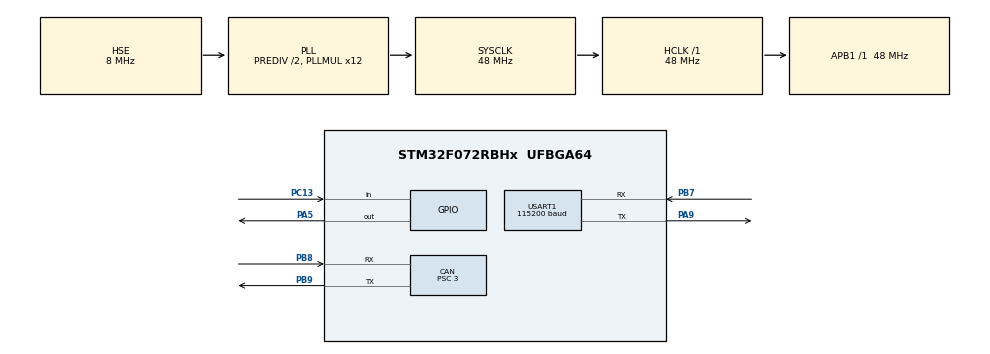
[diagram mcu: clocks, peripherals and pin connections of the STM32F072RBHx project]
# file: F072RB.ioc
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CAN.BS1=CAN_BS1_13TQ
CAN.BS2=CAN_BS2_2TQ
CAN.CalculateBaudRate=1000000
CAN.CalculateTimeBit=1000
CAN.CalculateTimeQuantum=62.5
CAN.Prescaler=3
Mcu.Family=STM32F0
Mcu.Name=STM32F072RBHx
Mcu.Package=UFBGA64
NVIC.CEC_CAN_IRQn=true\:0\:0\:false\:false\:true\:true\:true\:true
NVIC.TIM17_IRQn=true\:0\:0\:false\:false\:true\:true\:true\:true
PA5.Signal=GPIO_Output
PA9.Mode=Asynchronous
PA9.Signal=USART1_TX
PB7.Mode=Asynchronous
PB7.Signal=USART1_RX
PB8.Mode=CAN_Activate
PB8.Signal=CAN_RX
PB9.Mode=CAN_Activate
PB9.Signal=CAN_TX
PC13.GPIO_PuPd=GPIO_PULLDOWN
PC13.Signal=GPIO_Input
PF0-OSC_IN.Mode=HSE-External-Oscillator
PF0-OSC_IN.Signal=RCC_OSC_IN
PF1-OSC_OUT.Mode=HSE-External-Oscillator
PF1-OSC_OUT.Signal=RCC_OSC_OUT
ProjectManager.HeapSize=0x200
ProjectManager.StackSize=0x400
ProjectManager.TargetToolchain=STM32CubeIDE
RCC.AHBFreq_Value=48000000
RCC.APB1Freq_Value=48000000
RCC.APB1TimFreq_Value=48000000
RCC.HCLKFreq_Value=48000000
RCC.PLLDivider=RCC_PREDIV_DIV2
RCC.PLLMUL=RCC_PLL_MUL12
RCC.PLLSourceVirtual=RCC_PLLSOURCE_HSE
RCC.SYSCLKFreq_VALUE=48000000
RCC.SYSCLKSource=RCC_SYSCLKSOURCE_PLLCLK
TIM17.Period=47999
USART1.BaudRate=115200
USART1.VirtualMode-Asynchronous=VM_ASYNC
VP_TIM17_VS_ClockSourceINT.Mode=Enable_Timer
board=custom

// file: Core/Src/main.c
/* USER CODE BEGIN Header */
/**
  ******************************************************************************
  * @file           : main.c
  * @brief          : Main program body
  ******************************************************************************
  * @attention
  *
  * Copyright (c) 2026 STMicroelectronics.
  * All rights reserved.
  *
  * This software is licensed under terms that can be found in the LICENSE file
  * in the root directory of this software component.
  * If no LICENSE file comes with this software, it is provided AS-IS.
  *
  ******************************************************************************
  */
/* USER CODE END Header */
#include "main.h"
#include "can.h"
#include "tim.h"
#include "usart.h"
#include "gpio.h"

/* USER CODE BEGIN Includes */
#include <string.h>
#include "CANOpen_App.h"
#include "OD.h"
/* USER CODE END Includes */

void SystemClock_Config(void);

/* USER CODE BEGIN 0 */
void HAL_TIM_PeriodElapsedCallback(TIM_HandleTypeDef *htim)
{
	if(htim == canopen.timerHandle)
	{
		canopen_app_interrupt();
	}
}

/* USER CODE END 0 */

int main(void)
{

  /* MCU Configuration--------------------------------------------------------*/

  /* Reset of all peripherals, Initializes the Flash interface and the Systick. */
  HAL_Init();

  /* Configure the system clock */
  SystemClock_Config();

  /* Initialize all configured peripherals */
  MX_GPIO_Init();
  MX_CAN_Init();
  MX_USART1_UART_Init();
  MX_TIM17_Init();
  /* USER CODE BEGIN 2 */
  HAL_TIM_Base_Start_IT(&htim17);
  HAL_CAN_Start(&hcan);
  HAL_UART_Transmit(&huart1, "\r\nUART 1 Started!", sizeof("\r\nUART 1 Started!") , 100);
  HAL_UART_Receive_IT(&huart1, &Rx_buffer, 2);

  canoepn_app_init();

	nmt_operation_mode_command();

	uint32_t previous_time = HAL_GetTick();

  /* USER CODE END 2 */

  /* Infinite loop */
  /* USER CODE BEGIN WHILE */
  while (1)
  {
	  uint32_t current_time = HAL_GetTick();
//	  if(current_time - previous_time >= 300)
//	  {
//		  HAL_GPIO_TogglePin(GPIOA, GPIO_PIN_5);
//		  previous_time = current_time;
//	  }

	  canopen_app_process();

	  if(sdo_rw.read_state !=  SDO_RW_RUNNING && sdo_rw.write_state != SDO_RW_DONE)
	  {
		  ////Heart beat
//		  uint8_t buffer[2] = {0x00 , 0x01};
//		  sdo_write(0x1017 , 0x00 , 2 , buffer , 2 , 0x05 );

		  // temperature
		  uint16_t object_index = 0x2000;
		  uint8_t buffer[4] = {0xEE , 0xEE , 0xEE , 0xEE};
		  sdo_write(object_index , 0x00 , 4 , buffer , 4 , 0x05 );

	  }

	  if(sdo_rw.write_state != SDO_RW_RUNNING && sdo_rw.read_state != SDO_RW_PRINTED)
	  {
//		  uint16_t object_index = 0x1017;
//		  uint8_t buffer[2] = {0};
//	  	sdo_read(object_index , 0x00 , buffer , 2 , 0x05);

		  // temperature
		  uint16_t object_index = 0x2000;
		  uint8_t buffer[4] = {0};
		  sdo_read(object_index , 0x00 , buffer , 4 , 0x05);

		  if(sdo_rw.read_state ==  SDO_RW_DONE )
			{
				char msg[80];
				uint8_t pos = 0;
				pos += snprintf(&msg[pos] , sizeof(msg) , "\r\nObject of 0x%x is:" , object_index);

				for(uint8_t i=0; i<sizeof(buffer); i++)
				{
					pos += snprintf(&msg[pos] , sizeof(msg) , " 0x%x " , buffer[i]);
				}
				HAL_UART_Transmit(&huart1, msg, strlen(msg), 100);
				sdo_rw.read_state = SDO_RW_PRINTED;
			}

	  }
	  if(current_time - previous_time > 1000)
	  {
		  char msg_2[80];
		  sprintf(msg_2 , "\r\n.x6000: %x " , OD_PERSIST_COMM.x6000_temp);
		  HAL_UART_Transmit(&huart1, msg_2, strlen(msg_2), 100);

		  previous_time = current_time;
	  }

    /* USER CODE END WHILE */

  }
}

void SystemClock_Config(void)
{
  RCC_OscInitTypeDef RCC_OscInitStruct = {0};
  RCC_ClkInitTypeDef RCC_ClkInitStruct = {0};
  RCC_PeriphCLKInitTypeDef PeriphClkInit = {0};

  /** Initializes the RCC Oscillators according to the specified parameters
  * in the RCC_OscInitTypeDef structure.
  */
  RCC_OscInitStruct.OscillatorType = RCC_OSCILLATORTYPE_HSE;
  RCC_OscInitStruct.HSEState = RCC_HSE_ON;
  RCC_OscInitStruct.PLL.PLLState = RCC_PLL_ON;
  RCC_OscInitStruct.PLL.PLLSource = RCC_PLLSOURCE_HSE;
  RCC_OscInitStruct.PLL.PLLMUL = RCC_PLL_MUL12;
  RCC_OscInitStruct.PLL.PREDIV = RCC_PREDIV_DIV2;
  if (HAL_RCC_OscConfig(&RCC_OscInitStruct) != HAL_OK)
  {
    Error_Handler();
  }

  /** Initializes the CPU, AHB and APB buses clocks
  */
  RCC_ClkInitStruct.ClockType = RCC_CLOCKTYPE_HCLK|RCC_CLOCKTYPE_SYSCLK
                              |RCC_CLOCKTYPE_PCLK1;
  RCC_ClkInitStruct.SYSCLKSource = RCC_SYSCLKSOURCE_PLLCLK;
  RCC_ClkInitStruct.AHBCLKDivider = RCC_SYSCLK_DIV1;
  RCC_ClkInitStruct.APB1CLKDivider = RCC_HCLK_DIV1;

  if (HAL_RCC_ClockConfig(&RCC_ClkInitStruct, FLASH_LATENCY_1) != HAL_OK)
  {
    Error_Handler();
  }
  PeriphClkInit.PeriphClockSelection = RCC_PERIPHCLK_USART1;
  PeriphClkInit.Usart1ClockSelection = RCC_USART1CLKSOURCE_PCLK1;
  if (HAL_RCCEx_PeriphCLKConfig(&PeriphClkInit) != HAL_OK)
  {
    Error_Handler();
  }
}

void Error_Handler(void)
{
  __disable_irq();
  while (1)
  {
  }
}
